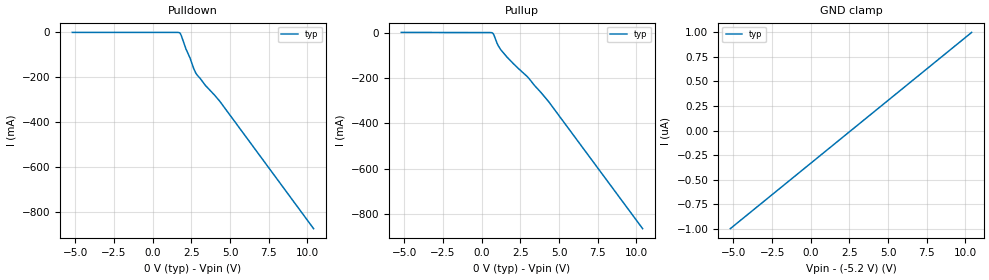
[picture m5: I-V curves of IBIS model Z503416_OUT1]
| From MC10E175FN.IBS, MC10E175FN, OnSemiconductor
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| (C) COPYRIGHT 1993-2000
| MENTOR GRAPHICS CORPORATION
| ICX STANDARD LIBRARY, ICX PROJECT MODELING,
| ICX CUSTOM MODELING, ICX VENDOR MODEL
| ALL RIGHTS RESERVED.
| THE FOLLOWING ARE TRADEMARKS OR SERVICE MARKS OF
| MENTOR GRAPHICS CORPORATION:ICX (R), ICX STANDARD
| LIBRARY(R), ICX PROJECT MODELING(R), ICX CUSTOM
| MODELING(R), qualityIBIS(TM), MODELVIEWER(TM),
| AND MODELEDITOR(TM)
| ALL COPIES OF SOFTWARE, INCLUDING BUT NOT LIMITED TO
| ANY MODIFICATIONS, ENHANCEMENTS OR DERIVATIVE WORKS,
| MUST CONTAIN ALL MENTOR GRAPHICS CORPORATION'S
| NOTICES AND LEGENDS, INCLUDING THOSE EMBEDDED IN
| SOFTWARE AND THOSE AFFIXED TO SOFTWARE MEDIUM
| AND CONTAINER, AS RECEIVED FROM MENTOR GRAPHICS
| CORPORATION.
| Model Application Version 1.89 2/18/99.
[Model] Z503416_OUT1
Model_type Output_ECL
Vref=-2.000V
Rref=50.00ohms
Cref=0.000F
Vmeas=-1.305V
C_comp 8.000pF NA NA
| variable typ   min   max
[Voltage Range] -5.200V NA NA
[POWER Clamp Reference] 0.000V NA NA
[Pullup Reference] 0.000V NA NA
[Pulldown Reference] 0.000V NA NA
[GND Clamp Reference] -5.200V NA NA
[GND Clamp]
-5.2V     -1uA       NA         NA
10.4V     1uA        NA         NA
[Pulldown]
-5.2V     182.8uA    NA         NA
1.739V    -1.777mA   NA         NA
1.849V    -13.89mA   NA         NA
2.144V    -72.28mA   NA         NA
2.417V    -114.2mA   NA         NA
2.646V    -159.6mA   NA         NA
2.876V    -189.7mA   NA         NA
3.402V    -235.1mA   NA         NA
4.326V    -304.9mA   NA         NA
10.4V     -872.2mA   NA         NA
[Pullup]
-5.2V     720.9uA    NA         NA
547.4mV   28.55uA    NA         NA
725.7mV   -3.518mA   NA         NA
795.1mV   -11.85mA   NA         NA
1.061V    -57.02mA   NA         NA
1.221V    -74.66mA   NA         NA
2.032V    -136.2mA   NA         NA
3.045V    -201.6mA   NA         NA
4.326V    -304.5mA   NA         NA
10.4V     -864.3mA   NA         NA
[POWER Clamp]
-5.2V     0A         NA         NA
10.4V     0A         NA         NA
[Ramp]
| variable typ min max
dV/dt_r 599.5m/256.3p NA NA
dV/dt_f 599.5m/257.1p NA NA
R_load = 500.0Ohms
